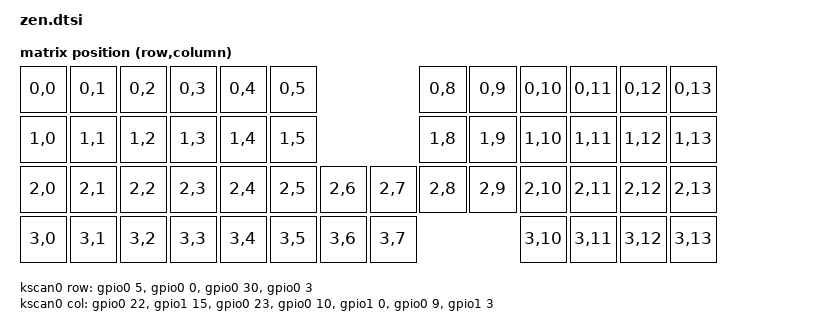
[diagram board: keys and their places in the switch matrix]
#include <zephyr/dt-bindings/gpio/nordic-nrf-gpio.h>
#include <dt-bindings/input/input-event-codes.h>
#include <dt-bindings/zmk/matrix_transform.h>
#include "zen_layouts.dtsi"

/ {
    chosen {
        zmk,physical-layout = &zen_physical_layout;
        zmk,kscan = &kscan0;
        zmk,battery = &non_lipo_battery;
    };

    zen_transform: keymap_transform_0 {
        compatible = "zmk,matrix-transform";
        columns = <14>;
        rows = <4>;
        map = <
            RC(0,0) RC(0,1) RC(0,2) RC(0,3) RC(0,4) RC(0,5)                   RC(0,8) RC(0,9) RC(0,10) RC(0,11) RC(0,12) RC(0,13)
            RC(1,0) RC(1,1) RC(1,2) RC(1,3) RC(1,4) RC(1,5)                   RC(1,8) RC(1,9) RC(1,10) RC(1,11) RC(1,12) RC(1,13)
            RC(2,0) RC(2,1) RC(2,2) RC(2,3) RC(2,4) RC(2,5) RC(2,6)  RC(2,7)  RC(2,8) RC(2,9) RC(2,10) RC(2,11) RC(2,12) RC(2,13)
            RC(3,0) RC(3,1) RC(3,2) RC(3,3) RC(3,4) RC(3,5) RC(3,6)  RC(3,7)                  RC(3,10) RC(3,11) RC(3,12) RC(3,13)
        >;
    };

    kscan0: kscan {
        compatible = "zmk,kscan-gpio-matrix";

        col-gpios
            = <&gpio0 22 (GPIO_ACTIVE_HIGH | GPIO_PULL_DOWN)>,
            <&gpio1 15   (GPIO_ACTIVE_HIGH | GPIO_PULL_DOWN)>,
            <&gpio0 23   (GPIO_ACTIVE_HIGH | GPIO_PULL_DOWN)>,
            <&gpio0 10   (GPIO_ACTIVE_HIGH | GPIO_PULL_DOWN)>,
            <&gpio1 0    (GPIO_ACTIVE_HIGH | GPIO_PULL_DOWN)>,
            <&gpio0 9    (GPIO_ACTIVE_HIGH | GPIO_PULL_DOWN)>,
            <&gpio1 3    (GPIO_ACTIVE_HIGH | GPIO_PULL_DOWN)>
            ;

        row-gpios
            = <&gpio0 5 (GPIO_ACTIVE_HIGH)>,
            <&gpio0 0  (GPIO_ACTIVE_HIGH)>,
            <&gpio0 30 (GPIO_ACTIVE_HIGH)>,
            <&gpio0 3  (GPIO_ACTIVE_HIGH)>
            ;

        wakeup-source;
    };

    leds {
        compatible = "gpio-leds";
        status_led: status_led {
            gpios = <&bmp 2 GPIO_ACTIVE_HIGH>;
            label = "Status LED";
        };
    };

    status_led_device: status_led_device {
        compatible = "zmk,status-led";
        led = <&status_led>;
    };

    bootloader_trigger: bootloader_trigger {
        compatible = "zmk,cdc-acm-bootloader-trigger";
    };

    scroll_scaler: scroll_scaler {
        compatible = "zmk,input-processor-scaler";
        #input-processor-cells = <2>;
        type = <INPUT_EV_REL>;
        codes = <INPUT_REL_WHEEL INPUT_REL_HWHEEL>;
        track-remainders;
    };

    /* track-remainders is not optional here. Without it the listener hands
       the processor a NULL remainder and apply_scale() throws the fraction
       away on every event: at any setting below 100%, a stream of 1-unit
       events scales to 0 and nothing comes out at all. Scrolling only moved
       when the scaler upstream happened to burst several units into one
       event, which is what made a low scroll setting feel like a dead
       trackball rather than a slow one. */
    /omit-if-no-ref/ zen_pointer_live_scale: zen_pointer_live_scale {
        compatible = "zen,input-processor-live-scale";
        #input-processor-cells = <0>;
        channel = <0>;
        track-remainders;
    };

    /* No scroll-channel instance here on purpose. Once a code-mapper has
       turned X/Y into WHEEL/HWHEEL, the pointer instance in the base chain
       scales those with the scroll setting anyway -- channel 1 only differs
       before the mapper. Putting one after the mapper as well applied the
       scroll setting twice, which is what used to happen on the pmw3610 and
       trackpad builds. Add one only if a chain ever needs scroll scaling
       applied to raw X/Y. */

    /* Replaces zip_temp_layer: same job, but on/off, timeout and the
       after-a-keystroke guard come from zen_pointer_settings at runtime so the
       Configurator can change them. Layer 1 is the mouse layer. */
    /omit-if-no-ref/ zen_auto_mouse: zen_auto_mouse {
        compatible = "zen,input-processor-auto-mouse";
        #input-processor-cells = <0>;
        layer = <1>;
    };

    pointing_listener: pointing_listener {
        compatible = "zmk,input-listener";
        status = "disabled";
    };

    behaviors {
        /* Plays one of the editable macro slots; the parameter is the slot
           number. Deliberately NOT /omit-if-no-ref/: nothing in the keymap
           refers to it, because a slot is bound at runtime -- by the
           Configurator, or by a runtime combo -- so omitting unreferenced
           nodes would delete the only thing that can play one.

           The node costs nothing where CONFIG_ZEN_RUNTIME_MACRO is off (a
           split peripheral, where the Configurator bridge is off too): the
           driver is not compiled, so no device is instantiated. */
        zen_macro: zen_macro {
            compatible = "zen,behavior-macro";
            #binding-cells = <1>;
        };
    };

    vbatt: vbatt {
        status = "disabled";
    };

    non_lipo_battery: non_lipo_battery {
        compatible = "zmk,non-lipo-battery";
        io-channels = <&adc 4>;
    };
};

&pinctrl {
    spi0_default: spi0_default {
        group1 {
            psels = <NRF_PSEL(SPIM_SCK, 0, 18)>,
                    <NRF_PSEL(SPIM_MOSI, 0, 16)>,
                    <NRF_PSEL(SPIM_MISO, 0, 16)>;
        };
    };

    spi0_sleep: spi0_sleep {
        group1 {
            psels = <NRF_PSEL(SPIM_SCK, 0, 18)>,
                    <NRF_PSEL(SPIM_MOSI, 0, 16)>,
                    <NRF_PSEL(SPIM_MISO, 0, 16)>;
        };
        low-power-enable;
    };

    i2c0_default: i2c0_default {
        group1 {
            psels = <NRF_PSEL(TWIM_SDA, 0, 18)>,
                    <NRF_PSEL(TWIM_SCL, 0, 16)>;
            bias-pull-up;
        };
    };

    i2c0_sleep: i2c0_sleep {
        group1 {
            psels = <NRF_PSEL(TWIM_SDA, 0, 18)>,
                    <NRF_PSEL(TWIM_SCL, 0, 16)>;
            bias-pull-up;
            low-power-enable;
        };
    };
};

&zen_physical_layout {
    kscan = <&kscan0>;
    transform = <&zen_transform>;
};
